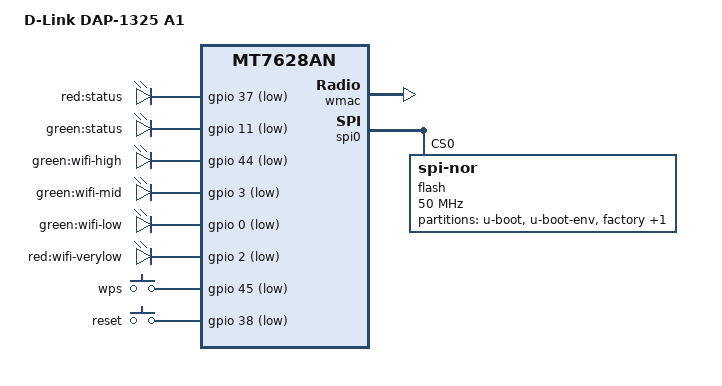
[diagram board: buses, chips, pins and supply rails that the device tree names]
// SPDX-License-Identifier: GPL-2.0-or-later OR MIT

#include "mt7628an.dtsi"

#include <dt-bindings/gpio/gpio.h>
#include <dt-bindings/input/input.h>

/ {
	compatible = "dlink,dap-1325-a1", "mediatek,mt7628an-soc";
	model = "D-Link DAP-1325 A1";

	aliases {
		led-boot = &led_status_green;
		led-failsafe = &led_status_green;
		led-running = &led_status_green;
		led-upgrade = &led_status_red;
	};

	leds {
		compatible = "gpio-leds";

		led_status_red: status_red {
			label = "red:status";
			gpios = <&gpio 37 GPIO_ACTIVE_LOW>;
		};

		led_status_green: status_green {
			label = "green:status";
			gpios = <&gpio 11 GPIO_ACTIVE_LOW>;
		};

		wifi-high {
			label = "green:wifi-high";
			gpios = <&gpio 44 GPIO_ACTIVE_LOW>;
		};

		wifi-mid {
			label = "green:wifi-mid";
			gpios = <&gpio 3 GPIO_ACTIVE_LOW>;
		};

		wifi-low {
			label = "green:wifi-low";
			gpios = <&gpio 0 GPIO_ACTIVE_LOW>;
		};

		wifi-verylow {
			label = "red:wifi-verylow";
			gpios = <&gpio 2 GPIO_ACTIVE_LOW>;
		};
	};

	keys {
		compatible = "gpio-keys";

		wps {
			label = "wps";
			gpios = <&gpio 45 GPIO_ACTIVE_LOW>;
			linux,code = <KEY_WPS_BUTTON>;
		};

		reset {
			label = "reset";
			gpios = <&gpio 38 GPIO_ACTIVE_LOW>;
			linux,code = <KEY_RESTART>;
		};
	};
};

&state_default {
	gpio {
		groups = "refclk", "gpio", "wled_an", "i2s", "uart1", "wdt";
		function = "gpio";
	};
};

&ethernet {
	nvmem-cells = <&macaddr_factory_28>;
	nvmem-cell-names = "mac-address";
};

&wmac {
	status = "okay";

	mediatek,mtd-eeprom = <&factory 0x0>;

	nvmem-cells = <&macaddr_factory_28>;
	nvmem-cell-names = "mac-address";
};

&spi0 {
	status = "okay";

	flash@0 {
		compatible = "jedec,spi-nor";
		reg = <0>;
		spi-max-frequency = <50000000>;

		partitions {
			compatible = "fixed-partitions";
			#address-cells = <1>;
			#size-cells = <1>;

			partition@0 {
				label = "u-boot";
				reg = <0x0 0x30000>;
				read-only;
			};

			partition@30000 {
				label = "u-boot-env";
				reg = <0x30000 0x10000>;
				read-only;
			};

			factory: partition@40000 {
				label = "factory";
				reg = <0x40000 0x10000>;
				read-only;
			};

			partition@50000 {
				compatible = "denx,uimage";
				label = "firmware";
				reg = <0x50000 0x7b0000>;
			};
		};
	};
};

&factory {
	compatible = "nvmem-cells";
	#address-cells = <1>;
	#size-cells = <1>;

	macaddr_factory_28: macaddr@28 {
		reg = <0x28 0x6>;
	};
};
